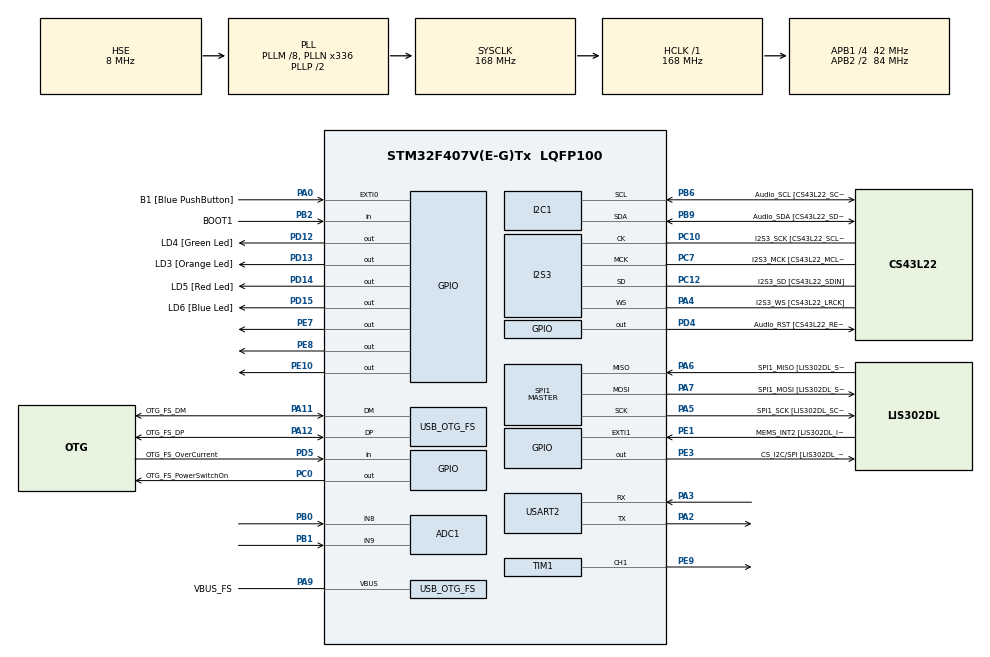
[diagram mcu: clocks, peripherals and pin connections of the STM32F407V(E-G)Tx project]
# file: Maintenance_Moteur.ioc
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ADC1.Channel-0\#ChannelRegularConversion=ADC_CHANNEL_8
ADC1.NbrOfConversionFlag=1
ADC1.Rank-0\#ChannelRegularConversion=1
ADC1.SamplingTime-0\#ChannelRegularConversion=ADC_SAMPLETIME_3CYCLES
ADC1.master=1
FREERTOS.Mutexes01=Mutex_UART,Static,Mutex_UARTControlBlock,Available
FREERTOS.Queues01=Queue_Capteurs,10,CapteurData_t,0,Static,myQueue01Buffer,myQueue01ControlBlock
FREERTOS.Tasks01=Acquisition_Rap,40,512,Start_Acquisition_Rapide,Default,NULL,Static,Acquisition_RapBuffer,Acquisition_RapControlBlock;Acquisition_Len,8,256,Start_Acquisition_Lente,Default,NULL,Static,Acquisition_LenBuffer,Acquisition_LenControlBlock;Traitement_Deci,24,8192,Start_Traitement_Decision,Default,NULL,Static,Traitement_DeciBuffer,Traitement_DeciControlBlock;Communication,16,512,Start_Communication,Default,NULL,Static,CommunicationBuffer,CommunicationControlBlock;Watchdog,9,128,Start_Watchdog,Default,NULL,Static,WatchdogBuffer,WatchdogControlBlock
FREERTOS.configUSE_NEWLIB_REENTRANT=1
I2S3.AudioFreq-Half_Duplex_Master=I2S_AUDIOFREQ_96K
I2S3.ErrorAudioFreq=-2.34 %
I2S3.ErrorAudioFreq-Half_Duplex_Master=0.8 %
I2S3.FullDuplexMode=I2S_FULLDUPLEXMODE_DISABLE
I2S3.Instance=SPI$Index
I2S3.RealAudioFreq=93.75 KHz
I2S3.RealAudioFreq-Half_Duplex_Master=96.774 KHz
I2S3.VirtualMode=I2S_MODE_MASTER
Mcu.Family=STM32F4
Mcu.Name=STM32F407V(E-G)Tx
Mcu.Package=LQFP100
NVIC.OTG_FS_IRQn=true\:5\:0\:false\:false\:true\:true\:true\:true\:true
NVIC.PriorityGroup=NVIC_PRIORITYGROUP_4
NVIC.TIM6_DAC_IRQn=true\:15\:0\:false\:false\:true\:false\:false\:true\:true
NVIC.TimeBase=TIM6_DAC_IRQn
NVIC.TimeBaseIP=TIM6
PA0-WKUP.GPIO_Label=B1 [Blue PushButton]
PA0-WKUP.GPIO_ModeDefaultEXTI=GPIO_MODE_EVT_RISING
PA0-WKUP.GPIO_PuPd=GPIO_NOPULL
PA0-WKUP.Signal=GPXTI0
PA10.GPIO_Label=OTG_FS_ID
PA10.GPIO_Mode=GPIO_MODE_AF_PP
PA10.GPIO_PuPd=GPIO_NOPULL
PA10.GPIO_Speed=GPIO_SPEED_FREQ_LOW
PA10.Signal=USB_OTG_FS_ID
PA11.GPIO_Label=OTG_FS_DM
PA11.GPIO_Mode=GPIO_MODE_AF_PP
PA11.GPIO_PuPd=GPIO_NOPULL
PA11.GPIO_Speed=GPIO_SPEED_FREQ_LOW
PA11.Mode=Device_Only
PA11.Signal=USB_OTG_FS_DM
PA12.GPIO_Label=OTG_FS_DP
PA12.GPIO_Mode=GPIO_MODE_AF_PP
PA12.GPIO_PuPd=GPIO_NOPULL
PA12.GPIO_Speed=GPIO_SPEED_FREQ_LOW
PA12.Mode=Device_Only
PA12.Signal=USB_OTG_FS_DP
PA13.GPIO_Label=SWDIO
PA13.Mode=Serial_Wire
PA13.Signal=SYS_JTMS-SWDIO
PA14.GPIO_Label=SWCLK
PA14.Mode=Serial_Wire
PA14.Signal=SYS_JTCK-SWCLK
PA2.Mode=Asynchronous
PA2.Signal=USART2_TX
PA3.Mode=Asynchronous
PA3.Signal=USART2_RX
PA4.GPIO_Label=I2S3_WS [CS43L22_LRCK]
PA4.GPIO_Mode=GPIO_MODE_AF_PP
PA4.GPIO_PuPd=GPIO_NOPULL
PA4.GPIO_Speed=GPIO_SPEED_FREQ_LOW
PA4.Mode=Half_Duplex_Master
PA4.Signal=I2S3_WS
PA5.GPIO_Label=SPI1_SCK [LIS302DL_SCL/SPC]
PA5.GPIO_Mode=GPIO_MODE_AF_PP
PA5.GPIO_PuPd=GPIO_NOPULL
PA5.GPIO_Speed=GPIO_SPEED_FREQ_LOW
PA5.Mode=Full_Duplex_Master
PA5.Signal=SPI1_SCK
PA6.GPIO_Label=SPI1_MISO [LIS302DL_SDO]
PA6.GPIO_Mode=GPIO_MODE_AF_PP
PA6.GPIO_PuPd=GPIO_NOPULL
PA6.GPIO_Speed=GPIO_SPEED_FREQ_LOW
PA6.Mode=Full_Duplex_Master
PA6.Signal=SPI1_MISO
PA7.GPIO_Label=SPI1_MOSI [LIS302DL_SDA/SDI/SDO]
PA7.GPIO_Mode=GPIO_MODE_AF_PP
PA7.GPIO_PuPd=GPIO_NOPULL
PA7.GPIO_Speed=GPIO_SPEED_FREQ_LOW
PA7.Mode=Full_Duplex_Master
PA7.Signal=SPI1_MOSI
PA9.GPIO_Label=VBUS_FS
PA9.GPIO_Mode=GPIO_MODE_INPUT
PA9.GPIO_PuPd=GPIO_NOPULL
PA9.Mode=Activate_VBUS
PA9.Signal=USB_OTG_FS_VBUS
PB0.Signal=ADCx_IN8
PB1.Signal=ADCx_IN9
PB10.GPIO_Label=CLK_IN [MP45DT02_CLK]
PB10.GPIO_Mode=GPIO_MODE_AF_PP
PB10.GPIO_PuPd=GPIO_NOPULL
PB10.GPIO_Speed=GPIO_SPEED_FREQ_LOW
PB10.Signal=I2S2_CK
PB2.GPIO_Label=BOOT1
PB2.GPIO_Mode=GPIO_MODE_INPUT
PB2.GPIO_PuPd=GPIO_NOPULL
PB2.Signal=GPIO_Input
PB3.GPIO_Label=SWO
PB3.Signal=SYS_JTDO-SWO
PB6.GPIO_Label=Audio_SCL [CS43L22_SCL]
PB6.GPIO_Mode=GPIO_MODE_AF_OD
PB6.GPIO_Pu=GPIO_PULLUP
PB6.GPIO_PuPd=GPIO_NOPULL
PB6.GPIO_Speed=GPIO_SPEED_FREQ_LOW
PB6.Mode=I2C
PB6.Signal=I2C1_SCL
PB9.GPIO_Label=Audio_SDA [CS43L22_SDA]
PB9.GPIO_Mode=GPIO_MODE_AF_OD
PB9.GPIO_Pu=GPIO_PULLUP
PB9.GPIO_PuPd=GPIO_NOPULL
PB9.GPIO_Speed=GPIO_SPEED_FREQ_LOW
PB9.Mode=I2C
PB9.Signal=I2C1_SDA
PC0.GPIO_Label=OTG_FS_PowerSwitchOn
PC0.GPIO_PuPd=GPIO_NOPULL
PC0.GPIO_Speed=GPIO_SPEED_FREQ_LOW
PC0.PinState=GPIO_PIN_SET
PC0.Signal=GPIO_Output
PC10.GPIO_Label=I2S3_SCK [CS43L22_SCLK]
PC10.GPIO_Mode=GPIO_MODE_AF_PP
PC10.GPIO_PuPd=GPIO_NOPULL
PC10.GPIO_Speed=GPIO_SPEED_FREQ_LOW
PC10.Mode=Half_Duplex_Master
PC10.Signal=I2S3_CK
PC12.GPIO_Label=I2S3_SD [CS43L22_SDIN]
PC12.GPIO_Mode=GPIO_MODE_AF_PP
PC12.GPIO_PuPd=GPIO_NOPULL
PC12.GPIO_Speed=GPIO_SPEED_FREQ_LOW
PC12.Mode=Half_Duplex_Master
PC12.Signal=I2S3_SD
PC14-OSC32_IN.GPIO_Label=PC14-OSC32_IN
PC14-OSC32_IN.Mode=LSE-External-Oscillator
PC14-OSC32_IN.Signal=RCC_OSC32_IN
PC15-OSC32_OUT.GPIO_Label=PC15-OSC32_OUT
PC15-OSC32_OUT.Mode=LSE-External-Oscillator
PC15-OSC32_OUT.Signal=RCC_OSC32_OUT
PC3.GPIO_Label=PDM_OUT [MP45DT02_DOUT]
PC3.GPIO_Mode=GPIO_MODE_AF_PP
PC3.GPIO_PuPd=GPIO_NOPULL
PC3.GPIO_Speed=GPIO_SPEED_FREQ_LOW
PC3.Signal=I2S2_SD
PC7.GPIO_Label=I2S3_MCK [CS43L22_MCLK]
PC7.GPIO_Mode=GPIO_MODE_AF_PP
PC7.GPIO_PuPd=GPIO_NOPULL
PC7.GPIO_Speed=GPIO_SPEED_FREQ_LOW
PC7.Mode=Master_Clock_Activated
PC7.Signal=I2S3_MCK
PD12.GPIO_Label=LD4 [Green Led]
PD12.GPIO_PuPd=GPIO_NOPULL
PD12.GPIO_Speed=GPIO_SPEED_FREQ_LOW
PD12.Signal=GPIO_Output
PD13.GPIO_Label=LD3 [Orange Led]
PD13.GPIO_PuPd=GPIO_NOPULL
PD13.GPIO_Speed=GPIO_SPEED_FREQ_LOW
PD13.Signal=GPIO_Output
PD14.GPIO_Label=LD5 [Red Led]
PD14.GPIO_PuPd=GPIO_NOPULL
PD14.GPIO_Speed=GPIO_SPEED_FREQ_LOW
PD14.Signal=GPIO_Output
PD15.GPIO_Label=LD6 [Blue Led]
PD15.GPIO_PuPd=GPIO_NOPULL
PD15.GPIO_Speed=GPIO_SPEED_FREQ_LOW
PD15.Signal=GPIO_Output
PD4.GPIO_Label=Audio_RST [CS43L22_RESET]
PD4.GPIO_PuPd=GPIO_NOPULL
PD4.GPIO_Speed=GPIO_SPEED_FREQ_LOW
PD4.Signal=GPIO_Output
PD5.GPIO_Label=OTG_FS_OverCurrent
PD5.GPIO_Mode=GPIO_MODE_INPUT
PD5.GPIO_PuPd=GPIO_NOPULL
PD5.Signal=GPIO_Input
PE1.GPIO_Label=MEMS_INT2 [LIS302DL_INT2]
PE1.GPIO_ModeDefaultEXTI=GPIO_MODE_EVT_RISING
PE1.GPIO_PuPd=GPIO_NOPULL
PE1.Signal=GPXTI1
PE10.Signal=GPIO_Output
PE3.GPIO_Label=CS_I2C/SPI [LIS302DL_CS_I2C/SPI]
PE3.GPIO_PuPd=GPIO_NOPULL
PE3.GPIO_Speed=GPIO_SPEED_FREQ_LOW
PE3.Signal=GPIO_Output
PE7.Signal=GPIO_Output
PE8.Signal=GPIO_Output
PE9.Signal=S_TIM1_CH1
PH0-OSC_IN.GPIO_Label=PH0-OSC_IN
PH0-OSC_IN.Mode=HSE-External-Oscillator
PH0-OSC_IN.Signal=RCC_OSC_IN
PH1-OSC_OUT.GPIO_Label=PH1-OSC_OUT
PH1-OSC_OUT.Mode=HSE-External-Oscillator
PH1-OSC_OUT.Signal=RCC_OSC_OUT
ProjectManager.HeapSize=0x200
ProjectManager.StackSize=0x400
ProjectManager.TargetToolchain=STM32CubeIDE
RCC.48MHZClocksFreq_Value=48000000
RCC.AHBFreq_Value=168000000
RCC.APB1CLKDivider=RCC_HCLK_DIV4
RCC.APB1Freq_Value=42000000
RCC.APB1TimFreq_Value=84000000
RCC.APB2CLKDivider=RCC_HCLK_DIV2
RCC.APB2Freq_Value=84000000
RCC.APB2TimFreq_Value=168000000
RCC.CortexFreq_Value=168000000
RCC.HCLKFreq_Value=168000000
RCC.HSE_VALUE=8000000
RCC.HSI_VALUE=16000000
RCC.PLLM=8
RCC.PLLN=336
RCC.PLLQ=7
RCC.SYSCLKFreq_VALUE=168000000
RCC.SYSCLKSource=RCC_SYSCLKSOURCE_PLLCLK
RCC.VCOOutputFreq_Value=336000000
SH.ADCx_IN8.0=ADC1_IN8,IN8
SH.ADCx_IN9.0=ADC1_IN9,IN9
SH.S_TIM1_CH1.0=TIM1_CH1,PWM Generation1 CH1
SPI1.BaudRatePrescaler-Full_Duplex_Master=SPI_BAUDRATEPRESCALER_2
SPI1.CalculateBaudRate-Full_Duplex_Master=42.0 MBits/s
SPI1.Direction=SPI_DIRECTION_2LINES
SPI1.Mode=SPI_MODE_MASTER
SPI1.Mode-Full_Duplex_Master=SPI_MODE_MASTER
SPI1.VirtualType=VM_MASTER
TIM1.Channel-PWM\ Generation1\ CH1=TIM_CHANNEL_1
USART2.VirtualMode=VM_ASYNC
USB_DEVICE.CLASS_NAME_FS=CDC
USB_DEVICE.VirtualMode-CDC_FS=Cdc
USB_DEVICE.VirtualModeFS=Cdc_FS
USB_OTG_FS.VirtualMode=Device_Only
VP_FREERTOS_VS_CMSIS_V2.Mode=CMSIS_V2
VP_SYS_VS_tim6.Mode=TIM6
VP_USB_DEVICE_VS_USB_DEVICE_CDC_FS.Mode=CDC_FS
board=STM32F407G-DISC1

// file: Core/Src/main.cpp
/* USER CODE BEGIN Header */
/**
  ******************************************************************************
  * @file           : main.c
  * @brief          : Acquisition de donnees et commande moteur DC pour maintenance
  ******************************************************************************
  */
/* USER CODE END Header */
#include "main.h"
#include "usb_device.h"

/* USER CODE BEGIN Includes */
/* USER CODE BEGIN Includes */
extern "C" {
    #include "FreeRTOS.h"
    #include "task.h"
    #include "queue.h"
    #include "semphr.h"
    #include "cmsis_os.h"
    #include "lcd_i2c.h"
}

#include <math.h>
#include <stdio.h>
#include <string.h>
#include "edge-impulse-sdk/classifier/ei_run_classifier.h"
 // <--- INCLUSION POUR LA COMMUNICATION USB CDC
// Redéfinition forcée des types statiques pour le compilateur C++
typedef StaticTask_t osStaticThreadDef_t;
typedef StaticQueue_t osStaticMessageQDef_t;
typedef StaticSemaphore_t osStaticMutexDef_t;
/* USER CODE END Includes */
/* USER CODE END Includes */
typedef struct {
  float tension;
  float courant;
  float temperature;
  float vib_x;
  float vib_y;
  float vib_z;
} CapteurData_t;

/* USER CODE BEGIN PD */
#define FLAG_ANOMALIE_CRITIQUE 0x0001U
#define V_MOTEUR_ON_SEUIL    5.0f     // au-dessus : moteur allumé
#define V_MOTEUR_OFF_SEUIL   2.0f     // en dessous : moteur éteint (hystérésis)
#define ARRET_CONFIRM_MS     3000U  // arrêt confirmé après 3 s continues < 2 V
#define PERIODE_CSV_ARRET_MS        1000U  // PuTTY : 1 ligne/s moteur éteint (0 = à chaque paquet)
#define GELER_VALEURS_APRES_ARRET   0      // 1 = après arrêt, garder les dernières valeurs en marche
                                           // 0 = afficher les mesures en direct (V=0, I=0...)
#define LCD_COLS                    20
/* USER CODE END PD */

ADC_HandleTypeDef hadc1;

I2C_HandleTypeDef hi2c1;

I2S_HandleTypeDef hi2s3;

SPI_HandleTypeDef hspi1;

TIM_HandleTypeDef htim1;

UART_HandleTypeDef huart2;

volatile uint32_t g_hb_acq   = 0;   // heartbeat Acquisition_Rapide
volatile uint32_t g_hb_trait = 0;   // heartbeat Traitement_Decision
#define WATCHDOG_TIMEOUT_MS  2000U  // au-delà : on considère le système figé
/* USER CODE BEGIN PV */
volatile uint32_t index_echantillon = 0;

volatile UBaseType_t diag_marge_memoire_ia = 0;
volatile float diag_meill_score = 0.0f;
   // nombre d'inférences IA effectuées
const char* volatile diag_nom_prediction = "normal";
// --- AJOUT POUR LE LCD ---
volatile float global_derniere_tension = 0.0f;
volatile float global_dernier_courant = 0.0f;

#define T_REF_DATASET   33.88f   // T° moteur à l'arrêt au début de coax_70.csv (été)
#define T_COMP_MIN      (-5.0f)
#define T_COMP_MAX      8.0f
volatile float g_t_comp = 4.0f;

volatile uint8_t g_moteur_on = 0;     // 0 = éteint, 1 = allumé
volatile uint8_t g_ia_prete  = 0;     // 1 = au moins une inférence faite depuis l'allumage
volatile float g_vib_moy_x = 0.0f, g_vib_moy_y = 0.0f, g_vib_moy_z = 0.0f;

volatile uint8_t g_a_deja_tourne = 0;   // passe à 1 dès le premier démarrage
volatile float g_aff_v = 0.0f, g_aff_i = 0.0f, g_aff_t = 0.0f;   // valeurs affichées sur le LCD
// 0.8503 (dataset) / 0.9755 (acquisition automne)
/* USER CODE BEGIN PV */
osThreadId_t Affichage_LCDHandle;
const osThreadAttr_t Affichage_LCD_attributes = {
  .name = "Affichage_LCD",
  .stack_size = 512 * 4,                      // avant : 256 * 4
  .priority = (osPriority_t) osPriorityLow,
};
/* USER CODE END PV */
/* USER CODE END PV */
/* USER CODE END PV */

osThreadId_t Acquisition_RapHandle;
uint32_t Acquisition_RapBuffer[ 512 ];
osStaticThreadDef_t Acquisition_RapControlBlock;
const osThreadAttr_t Acquisition_Rap_attributes = {
  .name = "Acquisition_Rap",
  .cb_mem = &Acquisition_RapControlBlock,
  .cb_size = sizeof(Acquisition_RapControlBlock),
  .stack_mem = &Acquisition_RapBuffer[0],
  .stack_size = sizeof(Acquisition_RapBuffer),
  .priority = (osPriority_t) osPriorityHigh,
};
/* Definitions for Acquisition_Len */
osThreadId_t Acquisition_LenHandle;
uint32_t Acquisition_LenBuffer[ 256 ];
osStaticThreadDef_t Acquisition_LenControlBlock;
const osThreadAttr_t Acquisition_Len_attributes = {
  .name = "Acquisition_Len",
  .cb_mem = &Acquisition_LenControlBlock,
  .cb_size = sizeof(Acquisition_LenControlBlock),
  .stack_mem = &Acquisition_LenBuffer[0],
  .stack_size = sizeof(Acquisition_LenBuffer),
  .priority = (osPriority_t) osPriorityLow,
};
/* Definitions for Traitement_Deci */
osThreadId_t Traitement_DeciHandle;
uint32_t Traitement_DeciBuffer[ 8192 ];
osStaticThreadDef_t Traitement_DeciControlBlock;
const osThreadAttr_t Traitement_Deci_attributes = {
  .name = "Traitement_Deci",
  .cb_mem = &Traitement_DeciControlBlock,
  .cb_size = sizeof(Traitement_DeciControlBlock),
  .stack_mem = &Traitement_DeciBuffer[0],
  .stack_size = sizeof(Traitement_DeciBuffer),
  .priority = (osPriority_t) osPriorityNormal,
};
/* Definitions for Communication */
osThreadId_t CommunicationHandle;
uint32_t CommunicationBuffer[ 512 ];
osStaticThreadDef_t CommunicationControlBlock;
const osThreadAttr_t Communication_attributes = {
  .name = "Communication",
  .cb_mem = &CommunicationControlBlock,
  .cb_size = sizeof(CommunicationControlBlock),
  .stack_mem = &CommunicationBuffer[0],
  .stack_size = sizeof(CommunicationBuffer),
  .priority = (osPriority_t) osPriorityBelowNormal,
};
/* Definitions for Watchdog */
osThreadId_t WatchdogHandle;
uint32_t WatchdogBuffer[ 128 ];
osStaticThreadDef_t WatchdogControlBlock;
const osThreadAttr_t Watchdog_attributes = {
  .name = "Watchdog",
  .cb_mem = &WatchdogControlBlock,
  .cb_size = sizeof(WatchdogControlBlock),
  .stack_mem = &WatchdogBuffer[0],
  .stack_size = sizeof(WatchdogBuffer),
  .priority = (osPriority_t) osPriorityLow1,
};
/* Definitions for Queue_Capteurs */
osMessageQueueId_t Queue_CapteursHandle;
osMessageQueueId_t Queue_CommHandle;
uint8_t myQueue01Buffer[ 10 * sizeof( CapteurData_t ) ];
osStaticMessageQDef_t myQueue01ControlBlock;
const osMessageQueueAttr_t Queue_Capteurs_attributes = {
  .name = "Queue_Capteurs",
  .cb_mem = &myQueue01ControlBlock,
  .cb_size = sizeof(myQueue01ControlBlock),
  .mq_mem = &myQueue01Buffer,
  .mq_size = sizeof(myQueue01Buffer)
};
/* Definitions for Mutex_UART */
osMutexId_t Mutex_UARTHandle;
osStaticMutexDef_t Mutex_UARTControlBlock;
const osMutexAttr_t Mutex_UART_attributes = {
  .name = "Mutex_UART",
  .cb_mem = &Mutex_UARTControlBlock,
  .cb_size = sizeof(Mutex_UARTControlBlock),
};

void SystemClock_Config(void);
static void MX_GPIO_Init(void);
extern "C" void MX_I2C1_Init(void);
static void MX_I2S3_Init(void);
static void MX_SPI1_Init(void);
static void MX_ADC1_Init(void);
static void MX_USART2_UART_Init(void);
static void MX_TIM1_Init(void);
extern "C" void Start_Acquisition_Rapide(void *argument);
extern "C" void Start_Acquisition_Lente(void *argument);
extern "C" void Start_Traitement_Decision(void *argument);
extern "C" void Start_Communication(void *argument);
extern "C" void Start_Watchdog(void *argument);
extern "C" void Start_Affichage_LCD(void *argument);

extern char uart_buf[128];
void DWT_Init(void);
void MEMS_Init(void);

int main(void)
{

  /* MCU Configuration--------------------------------------------------------*/
  /* Reset of all peripherals, Initializes the Flash interface and the Systick. */
  HAL_Init();

  /* Configure the system clock */
  SystemClock_Config();

  /* Initialize all configured peripherals */
  MX_GPIO_Init();
  MX_I2C1_Init();
  MX_I2S3_Init();
  MX_SPI1_Init();
  MX_ADC1_Init();
  MX_USART2_UART_Init();
  MX_USB_DEVICE_Init();
  MX_TIM1_Init();

   // démarre le watchdog matériel — irréversible jusqu'au reset
  /* USER CODE BEGIN 2 */
  // 1. Initialiser le compteur DWT pour la température
  DWT_Init();

  // 2. Initialiser le capteur de vibrations SPI
  MEMS_Init();

  // 3. Sens de rotation : Avant (PE8 = HIGH, PE10 = LOW)
  HAL_GPIO_WritePin(GPIOE, GPIO_PIN_8, GPIO_PIN_SET);
  HAL_GPIO_WritePin(GPIOE, GPIO_PIN_10, GPIO_PIN_RESET);

  // 4. CONFIGURATION DU PWM SUR PE9 (ENA) A 70% DE VITESSE
  __HAL_RCC_TIM1_CLK_ENABLE(); // Active l'horloge du Timer 1

  GPIO_InitTypeDef GPIO_InitStruct = {0};
  GPIO_InitStruct.Pin = GPIO_PIN_9;
  GPIO_InitStruct.Mode = GPIO_MODE_AF_PP;
  GPIO_InitStruct.Pull = GPIO_NOPULL;
  GPIO_InitStruct.Speed = GPIO_SPEED_FREQ_HIGH;
  GPIO_InitStruct.Alternate = GPIO_AF1_TIM1;
  HAL_GPIO_Init(GPIOE, &GPIO_InitStruct);

  htim1.Init.Prescaler = 168 - 1;
  htim1.Init.CounterMode = TIM_COUNTERMODE_UP;
  htim1.Init.Period = 1000 - 1;
  htim1.Init.ClockDivision = TIM_CLOCKDIVISION_DIV1;
  htim1.Init.RepetitionCounter = 0;
  HAL_TIM_PWM_Init(&htim1);

  TIM_OC_InitTypeDef sConfigOC = {0};
  sConfigOC.OCMode = TIM_OCMODE_PWM1;
  sConfigOC.Pulse = 700; // 70% DE VITESSE (7V sur 10V utiles)
  sConfigOC.OCPolarity = TIM_OCPOLARITY_HIGH;
  sConfigOC.OCFastMode = TIM_OCFAST_DISABLE;
  HAL_TIM_PWM_ConfigChannel(&htim1, &sConfigOC, TIM_CHANNEL_1);

  // Démarrage du signal PWM sur PE9
  HAL_TIM_PWM_Start(&htim1, TIM_CHANNEL_1);

  // --- MESSAGE D'ACCUEIL ---
  sprintf(uart_buf, "--- SYSTEME INITIALISE A 70%% DE VITESSE ---\r\n");
  HAL_UART_Transmit(&huart2, (uint8_t*)uart_buf, strlen(uart_buf), 100);

  HAL_Delay(2000);

  // --- EN-TÊTE CSV ---
  sprintf(uart_buf, "Tension_V;Courant_A;Temperature_C;Vibration_X;Vibration_Y;Vibration_Z\r\n");
  HAL_UART_Transmit(&huart2, (uint8_t*)uart_buf, strlen(uart_buf), 1000);
  /* USER CODE END 2 */
  // --- SCANNER I2C DE DIAGNOSTIC ---
  osDelay(100);
  sprintf(uart_buf, "\r\n--- Scan I2C en cours ---\r\n");
  HAL_UART_Transmit(&huart2, (uint8_t*)uart_buf, strlen(uart_buf), 100);
  uint8_t peripherique_trouve = 0;
  for (uint8_t addr = 1; addr < 128; addr++) {
      if (HAL_I2C_IsDeviceReady(&hi2c1, (addr << 1), 2, 10) == HAL_OK) {
          sprintf(uart_buf, "Peripherique trouve : 0x%02X\r\n", addr);
          HAL_UART_Transmit(&huart2, (uint8_t*)uart_buf, strlen(uart_buf), 100);
          peripherique_trouve = 1;
      }
  }
  if (!peripherique_trouve) {
      sprintf(uart_buf, "AUCUN peripherique I2C detecte !\r\n");
      HAL_UART_Transmit(&huart2, (uint8_t*)uart_buf, strlen(uart_buf), 100);
  }
  sprintf(uart_buf, "--- Fin du scan ---\r\n\r\n");
  HAL_UART_Transmit(&huart2, (uint8_t*)uart_buf, strlen(uart_buf), 100);
  /* Init scheduler */
  osKernelInitialize();

  /* Create the mutex(es) */
  Mutex_UARTHandle = osMutexNew(&Mutex_UART_attributes);

  /* Create the queue(s) */
  Queue_CapteursHandle = osMessageQueueNew (10, sizeof(CapteurData_t), &Queue_Capteurs_attributes);
  Queue_CommHandle = osMessageQueueNew (10, sizeof(CapteurData_t), NULL);

  /* Create the thread(s) */
  Acquisition_RapHandle = osThreadNew(Start_Acquisition_Rapide, NULL, &Acquisition_Rap_attributes);
  Acquisition_LenHandle = osThreadNew(Start_Acquisition_Lente, NULL, &Acquisition_Len_attributes);
  Traitement_DeciHandle = osThreadNew(Start_Traitement_Decision, NULL, &Traitement_Deci_attributes);
  CommunicationHandle = osThreadNew(Start_Communication, NULL, &Communication_attributes);
  WatchdogHandle = osThreadNew(Start_Watchdog, NULL, &Watchdog_attributes);

  /* USER CODE BEGIN RTOS_THREADS */
    // ... vos autres créations de threads (Task_Traitement, etc.) ...

  Affichage_LCDHandle = osThreadNew(Start_Affichage_LCD, NULL, &Affichage_LCD_attributes);

    /* USER CODE END RTOS_THREADS */
  /* Start scheduler */
  osKernelStart();

  /* We should never get here as control is now taken by the scheduler */
  /* Infinite loop */
  while (1)
  {
  }
}

/* USER CODE BEGIN PV */
char uart_buf[128];
float global_temperature = 0.0f;
int16_t accel_x, accel_y, accel_z;

static float features[EI_CLASSIFIER_DSP_INPUT_FRAME_SIZE];

extern "C" int run_ai_inference(void) {
    signal_t signal;
    ei_impulse_result_t result = { 0 };

    int err = numpy::signal_from_buffer(features, EI_CLASSIFIER_DSP_INPUT_FRAME_SIZE, &signal);
    if (err != 0) return err;

    EI_IMPULSE_ERROR res = run_classifier(&signal, &result, false);
    return (int)res;
}

/* USER CODE END PV */

void SystemClock_Config(void);
static void MX_GPIO_Init(void);
extern "C" void MX_I2C1_Init(void);
static void MX_I2S3_Init(void);
static void MX_SPI1_Init(void);
static void MX_ADC1_Init(void);
static void MX_USART2_UART_Init(void);
static void MX_TIM1_Init(void);
/* USER CODE BEGIN PFP */
void DWT_Init(void);
extern "C" void delay_us(uint32_t us);
void PE7_Set_Output(void);
void PE7_Set_Input(void);
uint8_t DS18B20_Start(void);
void DS18B20_Write(uint8_t data);
uint8_t DS18B20_Read(void);
float DS18B20_GetTemp(void);
uint32_t Read_ADC_Channel(uint32_t channel);

// Prototypes pour le capteur de vibration (Accelerometre SPI)
void MEMS_WriteReg(uint8_t reg, uint8_t data);
uint8_t MEMS_ReadReg(uint8_t reg);
void MEMS_Init(void);
void MEMS_ReadAxes(int16_t *x, int16_t *y, int16_t *z);
/* USER CODE END PFP */

/* USER CODE BEGIN 0 */

/* --- Variables globales pour le capteur MEMS --- */
uint8_t mems_type = 0; // 0x3F = LIS3DSH, 0x3B = LIS302DL

/* --- Fonctions de lecture / écriture SPI --- */
void MEMS_WriteReg(uint8_t reg, uint8_t data) {
    uint8_t txData[2] = {reg & 0x7F, data}; // Bit 7 à 0 = Ecriture
    HAL_GPIO_WritePin(GPIOE, CS_I2C_SPI_Pin, GPIO_PIN_RESET);
    HAL_SPI_Transmit(&hspi1, txData, 2, 50);
    HAL_GPIO_WritePin(GPIOE, CS_I2C_SPI_Pin, GPIO_PIN_SET);
}

uint8_t MEMS_ReadReg(uint8_t reg) {
    uint8_t txData[2] = {reg | 0x80, 0x00}; // Bit 7 à 1 = Lecture
    uint8_t rxData[2] = {0};
    HAL_GPIO_WritePin(GPIOE, CS_I2C_SPI_Pin, GPIO_PIN_RESET);
    HAL_SPI_TransmitReceive(&hspi1, txData, rxData, 2, 50);
    HAL_GPIO_WritePin(GPIOE, CS_I2C_SPI_Pin, GPIO_PIN_SET);
    return rxData[1];
}

void MEMS_Init(void) {
    HAL_GPIO_WritePin(GPIOE, CS_I2C_SPI_Pin, GPIO_PIN_SET);
    HAL_Delay(10);

    // 1. Verification du registre WHO_AM_I (0x0F)
    mems_type = MEMS_ReadReg(0x0F);

    if (mems_type == 0x3F) { // LIS3DSH
        // CTRL_REG4 (0x20) : ODR 100Hz, Activation axes X, Y, Z
        MEMS_WriteReg(0x20, 0x67);
        // CTRL_REG5 (0x24) : Echelle +/- 2g
        MEMS_WriteReg(0x24, 0x00);
    }
    else if (mems_type == 0x3B) { // LIS302DL
        // CTRL_REG1 (0x20) : Power ON, ODR 100Hz, Axes X, Y, Z
        MEMS_WriteReg(0x20, 0x47);
    }
}

void MEMS_ReadAxes_g(float *x_g, float *y_g, float *z_g) {
    if (mems_type == 0x3F) { // LIS3DSH (16 bits)
        uint8_t xl = MEMS_ReadReg(0x28);
        uint8_t xh = MEMS_ReadReg(0x29);
        uint8_t yl = MEMS_ReadReg(0x2A);
        uint8_t yh = MEMS_ReadReg(0x2B);
        uint8_t zl = MEMS_ReadReg(0x2C);
        uint8_t zh = MEMS_ReadReg(0x2D);

        int16_t raw_x = (int16_t)((xh << 8) | xl);
        int16_t raw_y = (int16_t)((yh << 8) | yl);
        int16_t raw_z = (int16_t)((zh << 8) | zl);

        // Sensibilite LIS3DSH (+/- 2g) : 0.06 mg/LSB
        *x_g = (float)raw_x * 0.06f / 1000.0f;
        *y_g = (float)raw_y * 0.06f / 1000.0f;
        *z_g = (float)raw_z * 0.06f / 1000.0f;
    }
    else if (mems_type == 0x3B) { // LIS302DL (8 bits)
        int8_t raw_x = (int8_t)MEMS_ReadReg(0x29);
        int8_t raw_y = (int8_t)MEMS_ReadReg(0x2B);
        int8_t raw_z = (int8_t)MEMS_ReadReg(0x2D);

        // Sensibilite LIS302DL (+/- 2g) : 18 mg/LSB
        *x_g = (float)raw_x * 0.018f;
        *y_g = (float)raw_y * 0.018f;
        *z_g = (float)raw_z * 0.018f;
    }
    else {
        // Si le capteur n'est pas detecte
        *x_g = 0.0f;
        *y_g = 0.0f;
        *z_g = 0.0f;
    }
}

/* --- Gestion des delais en microsecondes (pour DS18B20) --- */
void DWT_Init(void) {
    CoreDebug->DEMCR |= CoreDebug_DEMCR_TRCENA_Msk;
    DWT->CTRL |= DWT_CTRL_CYCCNTENA_Msk;
}

extern "C" void delay_us(uint32_t us) {
    uint32_t startTicks = DWT->CYCCNT;
    uint32_t targetTicks = us * (SystemCoreClock / 1000000);
    while ((DWT->CYCCNT - startTicks) < targetTicks);
}

/* --- Pilote DS18B20 (Sonde de temperature sur PE7) --- */
void PE7_Set_Output(void) {
    GPIO_InitTypeDef GPIO_InitStruct = {0};
    GPIO_InitStruct.Pin = GPIO_PIN_7;
    GPIO_InitStruct.Mode = GPIO_MODE_OUTPUT_PP;
    GPIO_InitStruct.Pull = GPIO_NOPULL;
    GPIO_InitStruct.Speed = GPIO_SPEED_FREQ_LOW;
    HAL_GPIO_Init(GPIOE, &GPIO_InitStruct);
}

void PE7_Set_Input(void) {
    GPIO_InitTypeDef GPIO_InitStruct = {0};
    GPIO_InitStruct.Pin = GPIO_PIN_7;
    GPIO_InitStruct.Mode = GPIO_MODE_INPUT;
    GPIO_InitStruct.Pull = GPIO_NOPULL;
    HAL_GPIO_Init(GPIOE, &GPIO_InitStruct);
}

uint8_t DS18B20_Start(void) {
    uint8_t Response = 0;
    PE7_Set_Output();
    HAL_GPIO_WritePin(GPIOE, GPIO_PIN_7, GPIO_PIN_RESET);
    delay_us(480);
    PE7_Set_Input();
    delay_us(80);
    if (!HAL_GPIO_ReadPin(GPIOE, GPIO_PIN_7)) Response = 1;
    else Response = 0;
    delay_us(400);
    return Response;
}

void DS18B20_Write(uint8_t data) {
    for (int i=0; i<8; i++) {
        PE7_Set_Output();
        HAL_GPIO_WritePin(GPIOE, GPIO_PIN_7, GPIO_PIN_RESET);
        if (data & (1<<i)) {
            delay_us(1);
            PE7_Set_Input();
            delay_us(60);
        } else {
            delay_us(60);
            PE7_Set_Input();
        }
    }
}

uint8_t DS18B20_Read(void) {
    uint8_t value = 0;
    for (int i=0; i<8; i++) {
        PE7_Set_Output();
        HAL_GPIO_WritePin(GPIOE, GPIO_PIN_7, GPIO_PIN_RESET);
        delay_us(2);
        PE7_Set_Input();
        if (HAL_GPIO_ReadPin(GPIOE, GPIO_PIN_7)) {
            value |= (1<<i);
        }
        delay_us(60);
    }
    return value;
}

float DS18B20_GetTemp(void) {
    if (!DS18B20_Start()) return -999.0f;
    DS18B20_Write(0xCC);
    DS18B20_Write(0x44);
    osDelay(750);  // Laisser le temps réel à la conversion 12 bits
    if (!DS18B20_Start()) return -999.0f;
    DS18B20_Write(0xCC);
    DS18B20_Write(0xBE);
    uint8_t temp_lsb = DS18B20_Read();
    uint8_t temp_msb = DS18B20_Read();
    int16_t temp_raw = (temp_msb << 8) | temp_lsb;
    return (float)temp_raw / 16.0f;
}

/* --- Lecture ADC Multicanal (PB0 pour Courant, PB1 pour Tension) --- */
uint32_t Read_ADC_Channel(uint32_t channel) {
    ADC_ChannelConfTypeDef sConfig = {0};
    sConfig.Channel = channel;
    sConfig.Rank = 1;
    sConfig.SamplingTime = ADC_SAMPLETIME_84CYCLES;
    HAL_ADC_ConfigChannel(&hadc1, &sConfig);

    HAL_ADC_Start(&hadc1);
    if (HAL_ADC_PollForConversion(&hadc1, 100) == HAL_OK) {
        uint32_t val = HAL_ADC_GetValue(&hadc1);
        HAL_ADC_Stop(&hadc1);
        return val;
    }
    HAL_ADC_Stop(&hadc1);
    return 0;
}

/* USER CODE END 0 */

void SystemClock_Config(void)
{
  RCC_OscInitTypeDef RCC_OscInitStruct = {0};
  RCC_ClkInitTypeDef RCC_ClkInitStruct = {0};

  /** Configure the main internal regulator output voltage
  */
  __HAL_RCC_PWR_CLK_ENABLE();
  __HAL_PWR_VOLTAGESCALING_CONFIG(PWR_REGULATOR_VOLTAGE_SCALE1);

  /** Initializes the RCC Oscillators according to the specified parameters
  * in the RCC_OscInitTypeDef structure.
  */
  RCC_OscInitStruct.OscillatorType = RCC_OSCILLATORTYPE_HSE;
  RCC_OscInitStruct.HSEState = RCC_HSE_ON;
  RCC_OscInitStruct.PLL.PLLState = RCC_PLL_ON;
  RCC_OscInitStruct.PLL.PLLSource = RCC_PLLSOURCE_HSE;
  RCC_OscInitStruct.PLL.PLLM = 8;
  RCC_OscInitStruct.PLL.PLLN = 336;
  RCC_OscInitStruct.PLL.PLLP = RCC_PLLP_DIV2;
  RCC_OscInitStruct.PLL.PLLQ = 7;
  if (HAL_RCC_OscConfig(&RCC_OscInitStruct) != HAL_OK)
  {
    Error_Handler();
  }

  /** Initializes the CPU, AHB and APB buses clocks
  */
  RCC_ClkInitStruct.ClockType = RCC_CLOCKTYPE_HCLK|RCC_CLOCKTYPE_SYSCLK
                              |RCC_CLOCKTYPE_PCLK1|RCC_CLOCKTYPE_PCLK2;
  RCC_ClkInitStruct.SYSCLKSource = RCC_SYSCLKSOURCE_PLLCLK;
  RCC_ClkInitStruct.AHBCLKDivider = RCC_SYSCLK_DIV1;
  RCC_ClkInitStruct.APB1CLKDivider = RCC_HCLK_DIV4;
  RCC_ClkInitStruct.APB2CLKDivider = RCC_HCLK_DIV2;

  if (HAL_RCC_ClockConfig(&RCC_ClkInitStruct, FLASH_LATENCY_5) != HAL_OK)
  {
    Error_Handler();
  }
}

static void MX_ADC1_Init(void)
{

  ADC_ChannelConfTypeDef sConfig = {0};

  /** Configure the global features of the ADC (Clock, Resolution, Data Alignment and number of conversion)
  */
  hadc1.Instance = ADC1;
  hadc1.Init.ClockPrescaler = ADC_CLOCK_SYNC_PCLK_DIV4;
  hadc1.Init.Resolution = ADC_RESOLUTION_12B;
  hadc1.Init.ScanConvMode = DISABLE;
  hadc1.Init.ContinuousConvMode = DISABLE;
  hadc1.Init.DiscontinuousConvMode = DISABLE;
  hadc1.Init.ExternalTrigConvEdge = ADC_EXTERNALTRIGCONVEDGE_NONE;
  hadc1.Init.ExternalTrigConv = ADC_SOFTWARE_START;
  hadc1.Init.DataAlign = ADC_DATAALIGN_RIGHT;
  hadc1.Init.NbrOfConversion = 1;
  hadc1.Init.DMAContinuousRequests = DISABLE;
  hadc1.Init.EOCSelection = ADC_EOC_SINGLE_CONV;
  if (HAL_ADC_Init(&hadc1) != HAL_OK)
  {
    Error_Handler();
  }

  /** Configure for the selected ADC regular channel its corresponding rank in the sequencer and its sample time.
  */
  sConfig.Channel = ADC_CHANNEL_8;
  sConfig.Rank = 1;
  sConfig.SamplingTime = ADC_SAMPLETIME_3CYCLES;
  if (HAL_ADC_ConfigChannel(&hadc1, &sConfig) != HAL_OK)
  {
    Error_Handler();
  }

}

extern "C" void MX_I2C1_Init(void)
{

  hi2c1.Instance = I2C1;
  hi2c1.Init.ClockSpeed = 100000;
  hi2c1.Init.DutyCycle = I2C_DUTYCYCLE_2;
  hi2c1.Init.OwnAddress1 = 0;
  hi2c1.Init.AddressingMode = I2C_ADDRESSINGMODE_7BIT;
  hi2c1.Init.DualAddressMode = I2C_DUALADDRESS_DISABLE;
  hi2c1.Init.OwnAddress2 = 0;
  hi2c1.Init.GeneralCallMode = I2C_GENERALCALL_DISABLE;
  hi2c1.Init.NoStretchMode = I2C_NOSTRETCH_DISABLE;
  if (HAL_I2C_Init(&hi2c1) != HAL_OK)
  {
    Error_Handler();
  }

}

static void MX_I2S3_Init(void)
{

  hi2s3.Instance = SPI3;
  hi2s3.Init.Mode = I2S_MODE_MASTER_TX;
  hi2s3.Init.Standard = I2S_STANDARD_PHILIPS;
  hi2s3.Init.DataFormat = I2S_DATAFORMAT_16B;
  hi2s3.Init.MCLKOutput = I2S_MCLKOUTPUT_ENABLE;
  hi2s3.Init.AudioFreq = I2S_AUDIOFREQ_96K;
  hi2s3.Init.CPOL = I2S_CPOL_LOW;
  hi2s3.Init.ClockSource = I2S_CLOCK_PLL;
  hi2s3.Init.FullDuplexMode = I2S_FULLDUPLEXMODE_DISABLE;
  if (HAL_I2S_Init(&hi2s3) != HAL_OK)
  {
    Error_Handler();
  }

}

static void MX_SPI1_Init(void)
{
  /* SPI1 parameter configuration*/
  hspi1.Instance = SPI1;
  hspi1.Init.Mode = SPI_MODE_MASTER;
  hspi1.Init.Direction = SPI_DIRECTION_2LINES;
  hspi1.Init.DataSize = SPI_DATASIZE_8BIT;
  hspi1.Init.CLKPolarity = SPI_POLARITY_LOW;
  hspi1.Init.CLKPhase = SPI_PHASE_1EDGE;
  hspi1.Init.NSS = SPI_NSS_SOFT;

  // CORRECTION ICI : On ralentit le SPI pour que l'accéléromètre puisse suivre !
  hspi1.Init.BaudRatePrescaler = SPI_BAUDRATEPRESCALER_16;

  hspi1.Init.FirstBit = SPI_FIRSTBIT_MSB;
  hspi1.Init.TIMode = SPI_TIMODE_DISABLE;
  hspi1.Init.CRCCalculation = SPI_CRCCALCULATION_DISABLE;
  hspi1.Init.CRCPolynomial = 10;
  if (HAL_SPI_Init(&hspi1) != HAL_OK)
  {
    Error_Handler();
  }
}

static void MX_TIM1_Init(void)
{

  TIM_MasterConfigTypeDef sMasterConfig = {0};
  TIM_OC_InitTypeDef sConfigOC = {0};
  TIM_BreakDeadTimeConfigTypeDef sBreakDeadTimeConfig = {0};

  htim1.Instance = TIM1;
  htim1.Init.Prescaler = 0;
  htim1.Init.CounterMode = TIM_COUNTERMODE_UP;
  htim1.Init.Period = 65535;
  htim1.Init.ClockDivision = TIM_CLOCKDIVISION_DIV1;
  htim1.Init.RepetitionCounter = 0;
  htim1.Init.AutoReloadPreload = TIM_AUTORELOAD_PRELOAD_DISABLE;
  if (HAL_TIM_PWM_Init(&htim1) != HAL_OK)
  {
    Error_Handler();
  }
  sMasterConfig.MasterOutputTrigger = TIM_TRGO_RESET;
  sMasterConfig.MasterSlaveMode = TIM_MASTERSLAVEMODE_DISABLE;
  if (HAL_TIMEx_MasterConfigSynchronization(&htim1, &sMasterConfig) != HAL_OK)
  {
    Error_Handler();
  }
  sConfigOC.OCMode = TIM_OCMODE_PWM1;
  sConfigOC.Pulse = 0;
  sConfigOC.OCPolarity = TIM_OCPOLARITY_HIGH;
  sConfigOC.OCNPolarity = TIM_OCNPOLARITY_HIGH;
  sConfigOC.OCFastMode = TIM_OCFAST_DISABLE;
  sConfigOC.OCIdleState = TIM_OCIDLESTATE_RESET;
  sConfigOC.OCNIdleState = TIM_OCNIDLESTATE_RESET;
  if (HAL_TIM_PWM_ConfigChannel(&htim1, &sConfigOC, TIM_CHANNEL_1) != HAL_OK)
  {
    Error_Handler();
  }
  sBreakDeadTimeConfig.OffStateRunMode = TIM_OSSR_DISABLE;
  sBreakDeadTimeConfig.OffStateIDLEMode = TIM_OSSI_DISABLE;
  sBreakDeadTimeConfig.LockLevel = TIM_LOCKLEVEL_OFF;
  sBreakDeadTimeConfig.DeadTime = 0;
  sBreakDeadTimeConfig.BreakState = TIM_BREAK_DISABLE;
  sBreakDeadTimeConfig.BreakPolarity = TIM_BREAKPOLARITY_HIGH;
  sBreakDeadTimeConfig.AutomaticOutput = TIM_AUTOMATICOUTPUT_DISABLE;
  if (HAL_TIMEx_ConfigBreakDeadTime(&htim1, &sBreakDeadTimeConfig) != HAL_OK)
  {
    Error_Handler();
  }
  HAL_TIM_MspPostInit(&htim1);

}

static void MX_USART2_UART_Init(void)
{

  huart2.Instance = USART2;
  huart2.Init.BaudRate = 115200;
  huart2.Init.WordLength = UART_WORDLENGTH_8B;
  huart2.Init.StopBits = UART_STOPBITS_1;
  huart2.Init.Parity = UART_PARITY_NONE;
  huart2.Init.Mode = UART_MODE_TX_RX;
  huart2.Init.HwFlowCtl = UART_HWCONTROL_NONE;
  huart2.Init.OverSampling = UART_OVERSAMPLING_16;
  if (HAL_UART_Init(&huart2) != HAL_OK)
  {
    Error_Handler();
  }

}

static void MX_GPIO_Init(void)
{
  GPIO_InitTypeDef GPIO_InitStruct = {0};

  /* GPIO Ports Clock Enable */
  __HAL_RCC_GPIOE_CLK_ENABLE();
  __HAL_RCC_GPIOC_CLK_ENABLE();
  __HAL_RCC_GPIOH_CLK_ENABLE();
  __HAL_RCC_GPIOA_CLK_ENABLE();
  __HAL_RCC_GPIOB_CLK_ENABLE();
  __HAL_RCC_GPIOD_CLK_ENABLE();

  /*Configure GPIO pin Output Level */
  HAL_GPIO_WritePin(GPIOE, CS_I2C_SPI_Pin|GPIO_PIN_7|GPIO_PIN_8|GPIO_PIN_10, GPIO_PIN_RESET);

  /*Configure GPIO pin Output Level */
  HAL_GPIO_WritePin(OTG_FS_PowerSwitchOn_GPIO_Port, OTG_FS_PowerSwitchOn_Pin, GPIO_PIN_SET);

  /*Configure GPIO pin Output Level */
  HAL_GPIO_WritePin(GPIOD, LD4_Pin|LD3_Pin|LD5_Pin|LD6_Pin
                          |Audio_RST_Pin, GPIO_PIN_RESET);

  /*Configure GPIO pins : CS_I2C_SPI_Pin PE7 PE8 PE10 */
  GPIO_InitStruct.Pin = CS_I2C_SPI_Pin|GPIO_PIN_7|GPIO_PIN_8|GPIO_PIN_10;
  GPIO_InitStruct.Mode = GPIO_MODE_OUTPUT_PP;
  GPIO_InitStruct.Pull = GPIO_NOPULL;
  GPIO_InitStruct.Speed = GPIO_SPEED_FREQ_LOW;
  HAL_GPIO_Init(GPIOE, &GPIO_InitStruct);

  /*Configure GPIO pin : OTG_FS_PowerSwitchOn_Pin */
  GPIO_InitStruct.Pin = OTG_FS_PowerSwitchOn_Pin;
  GPIO_InitStruct.Mode = GPIO_MODE_OUTPUT_PP;
  GPIO_InitStruct.Pull = GPIO_NOPULL;
  GPIO_InitStruct.Speed = GPIO_SPEED_FREQ_LOW;
  HAL_GPIO_Init(OTG_FS_PowerSwitchOn_GPIO_Port, &GPIO_InitStruct);

  /*Configure GPIO pin : PDM_OUT_Pin */
  GPIO_InitStruct.Pin = PDM_OUT_Pin;
  GPIO_InitStruct.Mode = GPIO_MODE_AF_PP;
  GPIO_InitStruct.Pull = GPIO_NOPULL;
  GPIO_InitStruct.Speed = GPIO_SPEED_FREQ_LOW;
  GPIO_InitStruct.Alternate = GPIO_AF5_SPI2;
  HAL_GPIO_Init(PDM_OUT_GPIO_Port, &GPIO_InitStruct);

  /*Configure GPIO pin : B1_Pin */
  GPIO_InitStruct.Pin = B1_Pin;
  GPIO_InitStruct.Mode = GPIO_MODE_EVT_RISING;
  GPIO_InitStruct.Pull = GPIO_NOPULL;
  HAL_GPIO_Init(B1_GPIO_Port, &GPIO_InitStruct);

  /*Configure GPIO pin : BOOT1_Pin */
  GPIO_InitStruct.Pin = BOOT1_Pin;
  GPIO_InitStruct.Mode = GPIO_MODE_INPUT;
  GPIO_InitStruct.Pull = GPIO_NOPULL;
  HAL_GPIO_Init(BOOT1_GPIO_Port, &GPIO_InitStruct);

  /*Configure GPIO pin : CLK_IN_Pin */
  GPIO_InitStruct.Pin = CLK_IN_Pin;
  GPIO_InitStruct.Mode = GPIO_MODE_AF_PP;
  GPIO_InitStruct.Pull = GPIO_NOPULL;
  GPIO_InitStruct.Speed = GPIO_SPEED_FREQ_LOW;
  GPIO_InitStruct.Alternate = GPIO_AF5_SPI2;
  HAL_GPIO_Init(CLK_IN_GPIO_Port, &GPIO_InitStruct);

  /*Configure GPIO pins : LD4_Pin LD3_Pin LD5_Pin LD6_Pin
                           Audio_RST_Pin */
  GPIO_InitStruct.Pin = LD4_Pin|LD3_Pin|LD5_Pin|LD6_Pin
                          |Audio_RST_Pin;
  GPIO_InitStruct.Mode = GPIO_MODE_OUTPUT_PP;
  GPIO_InitStruct.Pull = GPIO_NOPULL;
  GPIO_InitStruct.Speed = GPIO_SPEED_FREQ_LOW;
  HAL_GPIO_Init(GPIOD, &GPIO_InitStruct);

  /*Configure GPIO pin : OTG_FS_OverCurrent_Pin */
  GPIO_InitStruct.Pin = OTG_FS_OverCurrent_Pin;
  GPIO_InitStruct.Mode = GPIO_MODE_INPUT;
  GPIO_InitStruct.Pull = GPIO_NOPULL;
  HAL_GPIO_Init(OTG_FS_OverCurrent_GPIO_Port, &GPIO_InitStruct);

  /*Configure GPIO pin : MEMS_INT2_Pin */
  GPIO_InitStruct.Pin = MEMS_INT2_Pin;
  GPIO_InitStruct.Mode = GPIO_MODE_EVT_RISING;
  GPIO_InitStruct.Pull = GPIO_NOPULL;
  HAL_GPIO_Init(MEMS_INT2_GPIO_Port, &GPIO_InitStruct);

}

extern "C" void Start_Acquisition_Rapide(void *argument)
{
  for(;;)
  {
      float vib_x, vib_y, vib_z;
      MEMS_ReadAxes_g(&vib_x, &vib_y, &vib_z);

      float vib_x_calibre = vib_x + 0.001f;   // avant : vib_x - 0.010f
      float vib_y_calibre = vib_y + 0.025f;   // avant : vib_y + 0.016f
      float vib_z_calibre = vib_z + 0.004f;   // inchangé

      uint32_t adc_current_sum = 0;
      uint32_t adc_voltage_sum = 0;
      const int NUM_SAMPLES = 40;

      // Espacement de 100µs entre échantillons : 20 x 100µs = 2ms,
      // soit ~2 périodes PWM complètes couvertes, quel que soit le point de départ
      for(int i = 0; i < NUM_SAMPLES; i++) {
          adc_current_sum += Read_ADC_Channel(ADC_CHANNEL_8);
          adc_voltage_sum += Read_ADC_Channel(ADC_CHANNEL_9);
          delay_us(100);
      }

      uint32_t adc_raw_current = adc_current_sum / NUM_SAMPLES;
      uint32_t adc_raw_voltage = adc_voltage_sum / NUM_SAMPLES;

      float v_pb0 = (adc_raw_current * 3.3f) / 4095.0f;
      float courant_brut = ((v_pb0 - 2.5f) / 0.185f) / 2.0f;
      if (courant_brut < 0.0f) courant_brut = 0.0f;

      float v_pb1 = (adc_raw_voltage * 3.3f) / 4095.0f;
      float tension_brute = v_pb1 * 5.12f;

      // PAS de calibration pour l'instant — on teste la mesure brute corrigée

      CapteurData_t mes_donnees;
      mes_donnees.tension = tension_brute;
      mes_donnees.courant = courant_brut;
      mes_donnees.temperature = global_temperature;
      mes_donnees.vib_x = vib_x_calibre;
      mes_donnees.vib_y = vib_y_calibre;
      mes_donnees.vib_z = vib_z_calibre;

      global_derniere_tension = tension_brute; // ou tension_calibree selon votre code final
      global_dernier_courant = courant_brut;
      // --- Détection moteur ON/OFF avec hystérésis + confirmation d'arrêt ---
      // --- Détection moteur ON/OFF avec hystérésis + confirmation d'arrêt ---
      static bool arret_en_cours = false;
      static uint32_t t_debut_arret = 0;
      uint32_t maintenant = osKernelGetTickCount();
      if (tension_brute > V_MOTEUR_ON_SEUIL) {
          g_moteur_on = 1;
          g_a_deja_tourne = 1;
          arret_en_cours = false;
      } else if (tension_brute < V_MOTEUR_OFF_SEUIL) {
          if (!arret_en_cours) { arret_en_cours = true; t_debut_arret = maintenant; }
          else if (g_moteur_on && (maintenant - t_debut_arret) >= ARRET_CONFIRM_MS) g_moteur_on = 0;
      } else {
          arret_en_cours = false;
      }

      // --- Valeurs lissées pour le LCD (moyenne glissante exponentielle) ---
      static bool aff_init = false;
      if (!aff_init) {
          g_aff_v = tension_brute;  g_aff_i = courant_brut;  g_aff_t = global_temperature;
          g_vib_moy_x = vib_x_calibre; g_vib_moy_y = vib_y_calibre; g_vib_moy_z = vib_z_calibre;
          aff_init = true;
      }
      // Mise à jour : toujours si pas de gel, avant le 1er démarrage (valeurs initiales),
      // ou pendant que le moteur tourne réellement (on ignore les 3 s de descente vers 0 V)
      bool maj_aff = (!GELER_VALEURS_APRES_ARRET) || (!g_a_deja_tourne)
                     || (g_moteur_on && tension_brute > V_MOTEUR_ON_SEUIL);
      if (maj_aff) {
          const float A = 0.15f;   // avant : 0.6f
          g_aff_v     = g_aff_v     + A * (tension_brute   - g_aff_v);
          g_aff_i     = g_aff_i     + A * (courant_brut    - g_aff_i);
          g_vib_moy_x = g_vib_moy_x + A * (vib_x_calibre   - g_vib_moy_x);
          g_vib_moy_y = g_vib_moy_y + A * (vib_y_calibre   - g_vib_moy_y);
          g_vib_moy_z = g_vib_moy_z + A * (vib_z_calibre   - g_vib_moy_z);
          g_aff_t     = global_temperature;
      }

      osStatus_t statut = osMessageQueuePut(Queue_CapteursHandle, &mes_donnees, 0, 0);
      g_hb_acq = osKernelGetTickCount();
      osDelay(6);
  }
}
float derniere_temp_valide = 27.0f; // Valeur initiale logique pour l'atelier

static uint8_t n_calib = 0; static float somme_calib = 0.0f; static bool calib_ok = false;

extern "C" void Start_Acquisition_Lente(void *argument) {
  for(;;) {
    float temp_lue = DS18B20_GetTemp();
    if (temp_lue > -100.0f && fabsf(temp_lue - derniere_temp_valide) < 5.0f) {
        global_temperature = temp_lue;
        derniere_temp_valide = temp_lue;

        if (!calib_ok) {
            if (global_derniere_tension < 1.0f) {          // moteur à l'arrêt
                somme_calib += temp_lue;
                if (++n_calib >= 5) {                      // 5 mesures = ~5 s
                    float comp = T_REF_DATASET - (somme_calib / n_calib);
                    if (comp < T_COMP_MIN) comp = T_COMP_MIN;
                    if (comp > T_COMP_MAX) comp = T_COMP_MAX;
                    g_t_comp = comp; calib_ok = true;
                    char b[80];
                    snprintf(b, sizeof(b), "[CALIB] T_amb=%.2f comp=%.2f\r\n", somme_calib / n_calib, comp);
                    osMutexAcquire(Mutex_UARTHandle, osWaitForever);
                    HAL_UART_Transmit(&huart2, (uint8_t*)b, strlen(b), 100);
                    osMutexRelease(Mutex_UARTHandle);
                }
            } else calib_ok = true;   // moteur démarré trop tôt : on garde le repli +4,0
        }
    }
    osDelay(1000);
  }
}

/* USER CODE BEGIN Header_Start_Traitement_Decision */
/**
* @brief Function implementing the Traitement_Deci thread.
* @param argument: Not used
* @retval None
*
*/
/* USER CODE END Header_Start_Traitement_Decision */
extern osThreadId_t CommunicationHandle;
extern "C" void Start_Traitement_Decision(void *argument)
{
  CapteurData_t donnees_recues;

  // 1. Tableau rendu 'static' pour préserver la RAM, qui va accumuler les 600 valeurs
  static float features_buffer[EI_CLASSIFIER_DSP_INPUT_FRAME_SIZE];

  for(;;)
  {
    // 2. Réception des données brutes depuis l'acquisition
    if (osMessageQueueGet(Queue_CapteursHandle, &donnees_recues, NULL, osWaitForever) == osOK)
    {
      // 3. Remplissage progressif du grand tableau de l'IA
        // --- Marqueur d'état sur PuTTY (une seule fois à chaque changement) ---
        g_hb_trait = osKernelGetTickCount();
    	static uint8_t etat_prec = 2;
        if (g_moteur_on != etat_prec) {
            etat_prec = g_moteur_on;
            const char* m = g_moteur_on ? "\r\n[ETAT] MOTEUR ALLUME\r\n" : "\r\n[ETAT] MOTEUR ETEINT\r\n";
            osMutexAcquire(Mutex_UARTHandle, osWaitForever);
            HAL_UART_Transmit(&huart2, (uint8_t*)m, strlen(m), 100);
            osMutexRelease(Mutex_UARTHandle);
        }

        if (!g_moteur_on) {
            // Moteur éteint : on envoie les valeurs initiales vers PuTTY, mais on n'analyse rien
            static uint32_t t_csv = 0;
            uint32_t now = osKernelGetTickCount();
            if (PERIODE_CSV_ARRET_MS == 0 || (now - t_csv) >= PERIODE_CSV_ARRET_MS) {
                t_csv = now;
                osMessageQueuePut(Queue_CommHandle, &donnees_recues, 0, 0);
            }
            index_echantillon = 0;
            g_ia_prete = 0;
            diag_nom_prediction = "vide";
            diag_meill_score = 0.0f;
            continue;
        }
      if (index_echantillon + 6 <= EI_CLASSIFIER_DSP_INPUT_FRAME_SIZE)
      {

    	  // puis, dans le buffer de l'IA, remplacez tension et courant bruts par tension_ia et courant_ia
    	  // la température reste : donnees_recues.temperature + g_t_comp
    	features_buffer[index_echantillon++] = donnees_recues.tension * 1.0457f;
    	features_buffer[index_echantillon++] = donnees_recues.courant * 0.8717f;
    	features_buffer[index_echantillon++] = donnees_recues.temperature + g_t_comp;
        features_buffer[index_echantillon++] = donnees_recues.vib_x;
        features_buffer[index_echantillon++] = donnees_recues.vib_y;
        features_buffer[index_echantillon++] = donnees_recues.vib_z;
      }

      // Transmission à la file dédiée à la communication (conservée de votre code)
      osMessageQueuePut(Queue_CommHandle, &donnees_recues, 0, 0);

      // 4. Si on a accumulé les 100 paquets (donc 600 valeurs), on lance l'IA
      if (index_echantillon >= EI_CLASSIFIER_DSP_INPUT_FRAME_SIZE)
      {

        signal_t signal;
        int err = numpy::signal_from_buffer(features_buffer, EI_CLASSIFIER_DSP_INPUT_FRAME_SIZE, &signal);

        if (err != 0) {
          // En cas d'erreur, on remet à zéro et on attend les prochaines données
          index_echantillon = 0;
          continue;
        }

        // --- ÉTAPE 5 : EXÉCUTION DE L'INFÉRENCE IA ---
        ei_impulse_result_t result = { 0 };

        // Prendre l'heure avant le calcul
        EI_IMPULSE_ERROR res = run_classifier(&signal, &result, false);

        if (res == EI_IMPULSE_OK)
        {
          uint16_t meill_classe_idx = 0;
          diag_meill_score = 0.0f;

          // Recherche de la classe avec la plus haute probabilité
          for (uint16_t i = 0; i < EI_CLASSIFIER_LABEL_COUNT; i++) {
            if (result.classification[i].value > diag_meill_score) {
              diag_meill_score = result.classification[i].value;
              meill_classe_idx = i;
            }
          }

          diag_nom_prediction = result.classification[meill_classe_idx].label;
          g_ia_prete = 1;

          // --- DIAGNOSTIC TEMPORAIRE ---
          if (strstr(diag_nom_prediction, "vide") == NULL) {
              char diag_buf[200];
              int pos = snprintf(diag_buf, sizeof(diag_buf), "[DIAG] ");
              for (uint16_t i = 0; i < EI_CLASSIFIER_LABEL_COUNT; i++) {
                  pos += snprintf(diag_buf + pos, sizeof(diag_buf) - pos, "%s=%.2f ",
                                   result.classification[i].label, result.classification[i].value);
              }
              snprintf(diag_buf + pos, sizeof(diag_buf) - pos, "\r\n");

              osMutexAcquire(Mutex_UARTHandle, osWaitForever);
              HAL_UART_Transmit(&huart2, (uint8_t*)diag_buf, strlen(diag_buf), 100);
              osMutexRelease(Mutex_UARTHandle);
          }

          // --- CODE D'URGENCE ---
          // Si la confiance est de 80% ou plus ET que c'est une anomalie
          if (diag_meill_score >= 0.80f && strstr(diag_nom_prediction, "vide") == NULL)
          {
              osThreadFlagsSet(CommunicationHandle, FLAG_ANOMALIE_CRITIQUE);
          }

          diag_marge_memoire_ia = uxTaskGetStackHighWaterMark(NULL);
        }

        // 5. TRÈS IMPORTANT : On remet l'index à zéro pour recommencer une nouvelle fenêtre
        index_echantillon = 0;
      }
    }
  }
}

// Assurez-vous que cette ligne est bien présente en haut de votre fichier (hors de la fonction)
// extern const char* volatile diag_nom_prediction; // (Décommentez si la variable est dans un autre fichier)

// Fonction 1 : Détermine l'état général (Normal ou Anomalie)
const char* etat_affiche(const char* label_brut)
{
    if (strstr(label_brut, "vide") != NULL) return "A VIDE (fonctionnement normal)";
    return "ANOMALIE";
}

// Fonction 2 : Détermine le type précis de l'anomalie
const char* type_anomalie_affiche(const char* label_brut)
{
    if (strstr(label_brut, "surcharge") != NULL) return "Surcharge";
    if (strstr(label_brut, "tem") != NULL)        return "Surchauffage";
    if (strstr(label_brut, "OFON") != NULL)       return "Coupure inattendue (ON/OFF)";
    if (strstr(label_brut, "coax") != NULL)       return "Probleme de coaxialite de l'arbre";
    return "Type indetermine (Label non reconnu)";
}

// Votre tâche de communication
extern "C" void Start_Communication(void *argument)
{
  CapteurData_t data_a_envoyer;
  uint32_t flags;

  for(;;)
  {
    // 1. Vérification prioritaire et non-bloquante du Flag d'urgence (Timeout = 0)
    flags = osThreadFlagsWait(FLAG_ANOMALIE_CRITIQUE, osFlagsWaitAny, 0);

    // Vérification stricte : pas d'erreur ET flag présent
    if (((flags & osFlagsError) == 0) && ((flags & FLAG_ANOMALIE_CRITIQUE) != 0))
    {
      // Verrouillage de l'UART
      osMutexAcquire(Mutex_UARTHandle, osWaitForever);

      char buffer_alerte[128];

      // Si ce n'est pas "à vide" (l'alerte est justifiée)
      if (strstr(diag_nom_prediction, "vide") == NULL) {
          snprintf(buffer_alerte, sizeof(buffer_alerte),
                   "\r\n=========================================\r\n"
                   "!!! ALERTE CRITIQUE : %s !!!\r\n"
                   "=========================================\r\n",
                   type_anomalie_affiche(diag_nom_prediction));
      } else {
          // Sécurité au cas où le flag d'anomalie se déclenche par erreur sur le label normal
          snprintf(buffer_alerte, sizeof(buffer_alerte),
                   "\r\n--- ETAT : %s ---\r\n",
                   etat_affiche(diag_nom_prediction));
      }

      // Envoi sur le port série
      HAL_UART_Transmit(&huart2, (uint8_t*)buffer_alerte, strlen(buffer_alerte), 100);

      // Libération de l'UART
      osMutexRelease(Mutex_UARTHandle);
    }

    // 2. Lecture de la Queue avec un délai d'attente limité à 100 ms
    if (osMessageQueueGet(Queue_CommHandle, &data_a_envoyer, NULL, 100) == osOK)
    {
      sprintf(uart_buf, "%.2f;%.2f;%.2f;%.3f;%.3f;%.3f\r\n",
              data_a_envoyer.tension, data_a_envoyer.courant,
              data_a_envoyer.temperature, data_a_envoyer.vib_x,
              data_a_envoyer.vib_y, data_a_envoyer.vib_z);

      osMutexAcquire(Mutex_UARTHandle, osWaitForever);
      HAL_UART_Transmit(&huart2, (uint8_t*)uart_buf, strlen(uart_buf), 100);
      osMutexRelease(Mutex_UARTHandle);
    }
  }
}

extern "C" void Start_Watchdog(void *argument)
{
  for(;;)
  {
    osDelay(1);
  }
}

void HAL_TIM_PeriodElapsedCallback(TIM_HandleTypeDef *htim)
{
  if (htim->Instance == TIM6)
  {
    HAL_IncTick();
  }
}

/**

/* USER CODE BEGIN 4 */
/* USER CODE BEGIN Header_Start_Affichage_LCD */
/**
* @brief Function implementing the Affichage_LCD thread.
* @param argument: Not used
* @retval None
*/
/* USER CODE END Header_Start_Affichage_LCD */

/* USER CODE BEGIN 4 */
// (Ou juste au-dessus de la fonction Start_Affichage_LCD)

static const char* type_anomalie_lcd(const char* label)
{
    if (strstr(label, "surcharge") != NULL) return "SURCHARGE";
    if (strstr(label, "tem")       != NULL) return "SURCHAUFFE";
    if (strstr(label, "OFON")      != NULL) return "COUPURE ON/OFF";
    if (strstr(label, "coax")      != NULL) return "COAXIALITE";
    return "INCONNU";
}

// Écrit exactement 16 caractères (complète avec des espaces, coupe si trop long)
static char lcd_cache[4][LCD_COLS + 1];

static void lcd_ligne(uint8_t ligne, const char* txt)
{
    char b[LCD_COLS + 1];
    snprintf(b, sizeof(b), "%-*.*s", LCD_COLS, LCD_COLS, txt);
    if (strcmp(b, lcd_cache[ligne]) == 0) return;
    LCD_SetCursor(ligne, 0);
    if (LCD_SendString(b)) {
        strcpy(lcd_cache[ligne], b);
    } else {
        memset(lcd_cache, 0, sizeof(lcd_cache));   // tout l'écran a été effacé par la récupération : on force la réécriture de TOUT
    }
}

extern "C" void Start_Affichage_LCD(void *argument)
{
  LCD_Init(&hi2c1);
  memset(lcd_cache, 0, sizeof(lcd_cache));
  uint32_t cpt = 0;
  uint8_t echecs_i2c = 0;

  for(;;)
  {
    char t[48];

    // ---- Récupération si le bus I2C est bloqué (bruit du moteur) ----
    if (hi2c1.State != HAL_I2C_STATE_READY || __HAL_I2C_GET_FLAG(&hi2c1, I2C_FLAG_BUSY)) echecs_i2c++;
    else echecs_i2c = 0;
    if (echecs_i2c >= 3) {
        HAL_I2C_DeInit(&hi2c1);
        MX_I2C1_Init();
        LCD_Init(&hi2c1);
        memset(lcd_cache, 0, sizeof(lcd_cache));
        echecs_i2c = 0;
    }
    // ---- Rafraîchissement complet toutes les 10 s (efface les caractères corrompus) ----
    if ((cpt % 20) == 19) memset(lcd_cache, 0, sizeof(lcd_cache));

    int score = (int)(diag_meill_score * 100.0f);

    // ---- Ligne 1 : état / alerte + score ----
    if (!g_moteur_on) {
        lcd_ligne(0, "MOTEUR ETEINT");
    } else if (!g_ia_prete) {
        lcd_ligne(0, "ANALYSE IA...");
    } else if (strstr((const char*)diag_nom_prediction, "vide") != NULL) {
        snprintf(t, sizeof(t), "A VIDE %d%%", score);
        lcd_ligne(0, t);
    } else {
        snprintf(t, sizeof(t), "! %s %d%%", type_anomalie_lcd((const char*)diag_nom_prediction), score);
        lcd_ligne(0, t);
    }

    // ---- Ligne 2 : tension + courant + température ----
    snprintf(t, sizeof(t), "%.2fV %.3fA %.1fC", g_aff_v, g_aff_i, g_aff_t);
    lcd_ligne(1, t);

    // ---- Ligne 3 : vibrations X / Y / Z en mg ----
    snprintf(t, sizeof(t), "X:%d Y:%d Z:%d mg",
             (int)lroundf(g_vib_moy_x * 1000.0f),
             (int)lroundf(g_vib_moy_y * 1000.0f),
             (int)lroundf(g_vib_moy_z * 1000.0f));
    lcd_ligne(2, t);

    // ---- Ligne 4 : diagnostic (F = fenêtres IA, I = durée d'inférence, T = uptime) ----

    cpt++;
    osDelay(900);   // avant : 500
  }
}
/* USER CODE END 4 */

extern "C" void vApplicationStackOverflowHook(TaskHandle_t xTask, char *pcTaskName)
{
  HAL_GPIO_WritePin(GPIOD, GPIO_PIN_14, GPIO_PIN_SET);   // LED rouge LD5 allumée = débordement de pile
  while(1) { }
}

/* USER CODE END 4 */

void Error_Handler(void)
{
  __disable_irq();
  while (1)
  {
  }
}
